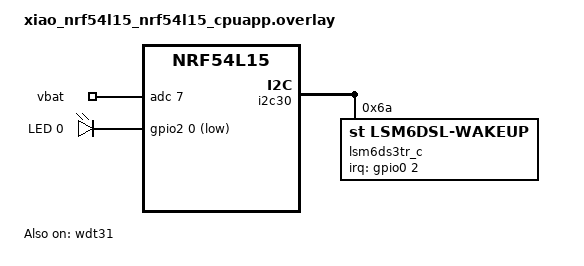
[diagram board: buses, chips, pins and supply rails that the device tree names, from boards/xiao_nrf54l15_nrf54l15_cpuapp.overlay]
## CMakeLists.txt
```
cmake_minimum_required(VERSION 3.20.0)
include(CheckCSourceCompiles)

# Manual ANT SDK install: unzip sdk-ant to <NCS>/ant.
# Force-export as cache so sysbuild/child configure also sees it.
set(_ncs_roots "")
if(DEFINED ENV{WEST_TOPDIR})
	list(APPEND _ncs_roots "$ENV{WEST_TOPDIR}")
endif()
if(DEFINED ENV{ZEPHYR_BASE})
	get_filename_component(_zephyr_parent "$ENV{ZEPHYR_BASE}" DIRECTORY)
	list(APPEND _ncs_roots "${_zephyr_parent}")
endif()

set(_ant_module_path "")
list(REMOVE_DUPLICATES _ncs_roots)
foreach(_root IN LISTS _ncs_roots)
	if(EXISTS "${_root}/ant/zephyr/module.yml")
		set(_ant_module_path "${_root}/ant")
		break()
	endif()
endforeach()

if(_ant_module_path)
	set(ZEPHYR_EXTRA_MODULES "${_ant_module_path};${ZEPHYR_EXTRA_MODULES}" CACHE STRING "Extra Zephyr modules" FORCE)
	message(STATUS "Using ANT module: ${_ant_module_path}")
else()
	message(WARNING "ANT module not found under WEST_TOPDIR/ZEPHYR_BASE parent")
endif()

find_package(Zephyr REQUIRED HINTS $ENV{ZEPHYR_BASE})
project(xds_t800_broker)

set_property(TARGET app PROPERTY C_STANDARD 11)

check_c_source_compiles("
    int main(void) {
      __auto_type x = 0;
      return 0;
    }
" HAVE_AUTO_TYPE)
check_c_source_compiles("
    int main(void) {
      int x = 0;
      __typeof__(x) y = 0;
      return y;
    }
" HAVE_TYPEOF)

if(HAVE_AUTO_TYPE)
  target_compile_definitions(app PRIVATE HAVE_AUTO_TYPE)
endif()
if(HAVE_TYPEOF)
  target_compile_definitions(app PRIVATE HAVE_TYPEOF)
endif()

execute_process(COMMAND git rev-parse --short HEAD OUTPUT_VARIABLE _git_commit ERROR_QUIET OUTPUT_STRIP_TRAILING_WHITESPACE)
file(STRINGS ${CMAKE_CURRENT_SOURCE_DIR}/APP_VERSION _app_version LIMIT_COUNT 1 LENGTH_MINIMUM 1 REGEX "^[0-9]+$")
target_compile_definitions(app PUBLIC "-DGIT_COMMIT=\"${_git_commit}\"" "-DAPP_VERSION_INT=${_app_version}")

zephyr_iterable_section(NAME central_profile_instance GROUP DATA_REGION ${XIP_ALIGN_WITH_INPUT})
zephyr_linker_sources(DATA_SECTIONS iterables.ld)

list(APPEND CENTRAL_SOURCES
  src/central_t800.c
)

# NORDIC SDK APP START
target_sources(app PRIVATE
  src/central_profile.c
  src/leds.c
  src/advertiser.c
  src/scanner.c
  src/gatt_callbacks.c
  src/gatt_battery.c
  src/gatt_dis.c
  src/shell_flush.c
  src/shell_bt.c
  src/bootloader.c
  src/battery_gauge.c
  src/watchdog.c
  src/poweroff.c
  src/crank_sim.c
  src/cdc_acm_serial.c
  src/main.c
  ${CENTRAL_SOURCES}
)

target_sources_ifdef(CONFIG_USE_IMU_ST_LSM6DSL app PRIVATE
  src/lsm6dsl.c
)

target_sources_ifdef(CONFIG_USE_RF_SW_CTL app PRIVATE
  src/shell_rfsw.c
)

target_sources_ifdef(CONFIG_ANT app PRIVATE
  src/ant_profiles.c
  src/ant_bike_power.c
  src/ant_environ.c
  src/shell_ant_slave.c
  src/shell_ant_master.c
)

target_sources_ifdef(CONFIG_HAS_ENVIRON_TX_TEMP app PRIVATE
  src/environ.c
)

# NORDIC SDK APP END
```

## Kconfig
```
rsource "Kconfig.defconfig"
source "Kconfig.zephyr"

config ZMS
	default y if (SOC_FLASH_NRF_RRAM || SOC_FLASH_NRF_MRAM)

config NVS
	default y if !(SOC_FLASH_NRF_RRAM || SOC_FLASH_NRF_MRAM)

menu "Private device drivers"
	config USE_RF_SW_CTL
		bool "Use RF switch control"
		default y
		depends on $(dt_nodelabel_enabled,rfsw_ctl)
	config USE_IMU_ST_LSM6DSL
		bool "Use ST LSM6DSL as IMU"
		default y
		select SENSOR
		depends on $(dt_compat_on_bus,$(DT_COMPAT_ST_LSM6DSL_WAKEUP),i2c)
endmenu

menu "Central connection settings"
	config PROXIMITY_PAIR_RSSI
		int "Proximity pairing RSSI threshold"
		# the ceramic antenna is not as good as inverted F setups on larger board
		default -80 if BOARD_XIAO_NRF54L15
		default -75
		range -127 0
		help
		  In proximity pairing mode (without a persisted known peer),
		  only peripherals with RSSI equal or greater than this threshold will be considered for pairing.

		  Future connections after initial proximity pairing are not affected by this setting.
endmenu

menu "Optional GATT services"
	config GATT_SERVICE_T800_DATA_PASSTHRU
		bool "Add T800 data passthrough service"
		default y
		help
		  When enabled, a GATT service is added to the device that
		  allows the T-800 power meter raw data to be passed along to attached centrals.
endmenu


menu "Bootloader trigger"
	config BOOTLOADER_GPREGRET_VAL
		int "Magic value to trigger bootloader (0=disabled)"
		default 87 if BOARD_PROMICRO_NRF52840
		default 0
		range 0 255
endmenu

menu "Data source and conditioning"
	config HAS_ENVIRON_TX_TEMP
		bool

	choice ENVIRON_TX_TEMP
		prompt "Temperature source"
		default ENVIRON_TX_TEMP_ST_LSM6DSL if USE_IMU_ST_LSM6DSL
		default ENVIRON_TX_TEMP_T800
	config ENVIRON_TX_TEMP_T800
		bool "Temperature from T-800 Sensor"
		select HAS_ENVIRON_TX_TEMP
	config ENVIRON_TX_TEMP_ST_LSM6DSL
		bool "Temperature from ST LSM6DSL Sensor"
		select HAS_ENVIRON_TX_TEMP
		depends on USE_IMU_ST_LSM6DSL
	endchoice

	config ENVIRON_TX_TEMP_AUTHEN
		bool "Require authentication for temperature reading"

	config BPWR_CLIP_RISING_DELTA
		int "Clip rising delta in power readings to this value (W/smpl)"
		default 300
		range 0 2000
endmenu

menu "Battery management"
	config LOW_POWER_TIMEOUT
		int "Low power mode timeout in seconds (0 = disabled)"
		default 60
		range 0 86400
	
	config AUTO_POWER_OFF_WAKE_BY_ACCELEROMETER
		bool "Use onboard accelerometer to wake up from low power mode"
		default y
		select USE_IMU_ST_LSM6DSL if $(dt_compat_on_bus,$(DT_COMPAT_ST_LSM6DSL_WAKEUP),i2c)
		depends on $(dt_compat_on_bus,$(DT_COMPAT_ST_LSM6DSL_WAKEUP),i2c)

	config AUTO_POWER_OFF_TIMEOUT
		int "Auto power off timeout in seconds (0 = disabled)"
		default 600 if AUTO_POWER_OFF_WAKE_BY_ACCELEROMETER
		default 3600 if $(dt_has_compat,gpio-keys) && !AUTO_POWER_OFF_WAKE_BY_ACCELEROMETER
		default 0
		range 0 86400
		depends on POWEROFF

	# rough estimation based on eneloop datasheet
	config BATTERY_CELL_COUNT
		int "Battery cell count"
		default 3
		range 1 10
	
	config BATTERY_GAUGE_ADC_REFERENCE_VOLTAGE
		int "ADC reference voltage (mV)"
		default 600
		range 1 64000

	config BATTERY_GAUGE_VOLTAGE_TABLE_10
		int "Report 10% when cell voltage is at least this value"
		default 1050
	
	config BATTERY_GAUGE_VOLTAGE_TABLE_20
		int "Report 20% when cell voltage is at least this value"	
		default 1160

	config BATTERY_GAUGE_VOLTAGE_TABLE_30
		int "Report 30% when cell voltage is at least this value"
		default 1180

	config BATTERY_GAUGE_VOLTAGE_TABLE_40
		int "Report 40% when cell voltage is at least this value"
		default 1200
	
	config BATTERY_GAUGE_VOLTAGE_TABLE_50
		int "Report 50% when cell voltage is at least this value"
		default 1220

	config BATTERY_GAUGE_VOLTAGE_TABLE_60
		int "Report 60% when cell voltage is at least this value"
		default 1240

	config BATTERY_GAUGE_VOLTAGE_TABLE_70
		int "Report 70% when cell voltage is at least this value"
		default 1260

	config BATTERY_GAUGE_VOLTAGE_TABLE_80
		int "Report 80% when cell voltage is at least this value"
		default 1300

	config BATTERY_GAUGE_VOLTAGE_TABLE_90
		int "Report 90% when cell voltage is at least this value"
		default 1350

	config BATTERY_GAUGE_VOLTAGE_TABLE_100
		int "Report 100% when cell voltage is at least this value"
		default 1400

	config BATTERY_GATT_SINGLE_SERVICE_COMPAT
		bool "Use single minimal Battery Service for compatibility"
		default y
		help
		  When enabled, only one Battery Service is presented on BLE and reports the lowest battery level.
		  The onboard power gauge and voltage reading will be moved to an aliased service UUID
		  (180f0000-fec3-49e5-bb59-eec007b2e270).
		  When disabled, two Battery services are presented on BLE and reports the onboard power gauge and meter battery gauge independently.
endmenu

if ANT
menu "ANT+ information"
	config ANT_ENVIRON_TX
		bool "Enable Environment (temperature) transmission"
		default y
		depends on HAS_ENVIRON_TX_TEMP

	config ANT_HW_VERSION
		int "Hardware revision"
		default 1
	
	config ANT_MFG_ID
		int "Manufacturer ID"
		default 255
	
	config ANT_MODEL_NUM
		int "Model number"
		default 1
	
	config ANT_FALLBACK_DEVICE_NUMBER
		int "Fallback device number with hardware ID not available"
		default 12345
		range 1 65535
endmenu
endif # ANT
```

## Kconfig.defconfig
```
menu "Device Identity"

config USB_MANUFACTURER_STRING
    string "USB Manufacturer String"
    default "Nordic Semiconductor ASA"

config USB_PRODUCT_STRING
    string "USB Product String"
    default "XDS_T800_Broker"

config BT_DEVICE_NAME
    default "XDS_T800_Broker"

config BT_CTLR_TX_PWR_ANTENNA
    # the Xiao NRF54L15 has a ceramic antenna
    # which is less efficient
    default 8 if BOARD_XIAO_NRF54L15

endmenu
```

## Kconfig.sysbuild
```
#
# Copyright (c) 2023 Nordic Semiconductor
#
# SPDX-License-Identifier: LicenseRef-Nordic-5-Clause
#

config PARTITION_MANAGER
	default n if !BOARD_IS_NON_SECURE

config NRF_DEFAULT_IPC_RADIO
	default y

config NETCORE_IPC_RADIO_BT_HCI_IPC
	default y

config REMOTE_BOARD
	string "The board used as remote target in dual core builds"
	default "xiao_nrf54l15/nrf54l15/cpuflpr" if BOARD_XIAO_NRF54L15_NRF54L15_CPUAPP
	default "nrf54l15dk/nrf54l15/cpuflpr" if BOARD_NRF54L15DK_NRF54L15_CPUAPP
	default "nrf54lm20dk/nrf54lm20a/cpuflpr" if BOARD_NRF54LM20DK_NRF54LM20A_CPUAPP
	default "nrf54lv10dk/nrf54lv10a/cpuflpr" if BOARD_NRF54LV10DK_NRF54LV10A_CPUAPP
	
source "share/sysbuild/Kconfig"
```

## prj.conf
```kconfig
CONFIG_SIZE_OPTIMIZATIONS=y

CONFIG_RESET_ON_FATAL_ERROR=y
CONFIG_HW_STACK_PROTECTION=y
CONFIG_HEAP_MEM_POOL_SIZE=8192
CONFIG_SYS_CLOCK_TICKS_PER_SEC=8192

CONFIG_ADC=y

CONFIG_BT_LL_SOFTDEVICE_MULTIROLE=y

CONFIG_LOG=y
CONFIG_LOG_MODE_DEFERRED=y
CONFIG_LOG_SPEED=y
CONFIG_LOG_BUFFER_SIZE=8192

CONFIG_LED=y
CONFIG_LED_PWM=y

CONFIG_HWINFO=y

CONFIG_CDC_ACM_SERIAL_INITIALIZE_AT_BOOT=n
CONFIG_SHELL=y
CONFIG_SHELL_BT_NUS=y
CONFIG_SHELL_VT100_COLORS=n
CONFIG_SHELL_BT_NUS_INIT_LOG_LEVEL_INF=y
CONFIG_SHELL_BT_NUS_LOG_LEVEL_WRN=y
CONFIG_SHELL_BT_NUS_TX_RING_BUFFER_SIZE=64
CONFIG_SHELL_BACKEND_SERIAL_RX_RING_BUFFER_SIZE=256
CONFIG_SHELL_BACKEND_SERIAL_TX_RING_BUFFER_SIZE=32

CONFIG_BT_NUS_AUTHEN=y

CONFIG_BT=y
CONFIG_BT_CTLR_PHY_2M=n
CONFIG_BT_CTLR_PHY_CODED=y
CONFIG_BT_USER_PHY_UPDATE=y
CONFIG_BT_CTLR_TX_PWR_DYNAMIC_CONTROL=y
CONFIG_BT_FILTER_ACCEPT_LIST=y
CONFIG_BT_CTLR_FAL_SIZE=16
CONFIG_BT_PERIPHERAL=y
CONFIG_BT_CENTRAL=y
CONFIG_BT_PRIVACY=y
CONFIG_BT_CONN_CHECK_NULL_BEFORE_CREATE=y
CONFIG_BT_SMP_SC_PAIR_ONLY=y
CONFIG_BT_SMP_APP_PAIRING_ACCEPT=y
# Allow for large Bluetooth data packets.
CONFIG_BT_L2CAP_TX_MTU=498
CONFIG_BT_BUF_ACL_RX_SIZE=502
CONFIG_BT_BUF_ACL_TX_SIZE=502
CONFIG_BT_CTLR_DATA_LENGTH_MAX=251
CONFIG_BT_DEVICE_NAME_DYNAMIC=y
CONFIG_BT_DEVICE_NAME_MAX=40

CONFIG_BT_DEVICE_APPEARANCE=1156
CONFIG_BT_MAX_CONN=8
CONFIG_BT_CTLR_SDC_PERIPHERAL_COUNT=2
CONFIG_BT_MAX_PAIRED=8

CONFIG_BT_SMP=y
CONFIG_BT_KEYS_OVERWRITE_OLDEST=y
CONFIG_BT_ID_UNPAIR_MATCHING_BONDS=y

CONFIG_BT_SCAN_AND_INITIATE_IN_PARALLEL=y

CONFIG_BT_GATT_CLIENT=y
CONFIG_BT_GATT_DM=y
# CONFIG_BT_GATT_DM_DATA_PRINT=y

CONFIG_BT_SETTINGS=y
CONFIG_FLASH=y
CONFIG_FLASH_PAGE_LAYOUT=y
CONFIG_FLASH_MAP=y
CONFIG_SETTINGS=y
CONFIG_SETTINGS_SHELL=y

CONFIG_I2C=y
CONFIG_LSM6DSO=n
CONFIG_LSM6DSL=n

CONFIG_POWEROFF=y
CONFIG_DK_LIBRARY=y
CONFIG_DK_LIBRARY_DYNAMIC_BUTTON_HANDLERS=n
CONFIG_WATCHDOG=y
CONFIG_REBOOT=y
```

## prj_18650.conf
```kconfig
CONFIG_BATTERY_CELL_COUNT=1

CONFIG_BATTERY_GAUGE_VOLTAGE_TABLE_100=4100
CONFIG_BATTERY_GAUGE_VOLTAGE_TABLE_90=4000
CONFIG_BATTERY_GAUGE_VOLTAGE_TABLE_80=3900
CONFIG_BATTERY_GAUGE_VOLTAGE_TABLE_70=3800
CONFIG_BATTERY_GAUGE_VOLTAGE_TABLE_60=3700
CONFIG_BATTERY_GAUGE_VOLTAGE_TABLE_50=3600
CONFIG_BATTERY_GAUGE_VOLTAGE_TABLE_40=3550
CONFIG_BATTERY_GAUGE_VOLTAGE_TABLE_30=3500
CONFIG_BATTERY_GAUGE_VOLTAGE_TABLE_20=3400
CONFIG_BATTERY_GAUGE_VOLTAGE_TABLE_10=3300
```

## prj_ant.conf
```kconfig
CONFIG_ANT=y
CONFIG_ANT_LIBRARY_CORE=y
CONFIG_ANT_COMMON=y
CONFIG_ANT_KEY_MANAGER=y
CONFIG_ANT_CHANNEL_CONFIG=y
CONFIG_ANT_SDC_INIT=y
CONFIG_ANT_EVALUATION_KEY=y
CONFIG_ANT_TOTAL_CHANNELS_ALLOCATED=4
```

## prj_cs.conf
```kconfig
CONFIG_BT_CTLR_SDC_MAX_CONN_EVENT_LEN_DEFAULT=1500
CONFIG_BT_RAS_RRSP_RD_BUFFERS_PER_CONN=4
CONFIG_BT_TRANSMIT_POWER_CONTROL=y
CONFIG_BT_CHANNEL_SOUNDING=y
CONFIG_BT_RAS=y
CONFIG_BT_RAS_MODE_3_SUPPORTED=n
CONFIG_BT_RAS_RRSP=y
CONFIG_BT_RAS_RRSP_MAX_ACTIVE_CONN=2
CONFIG_BT_RAS_MAX_ANTENNA_PATHS=2
CONFIG_BT_CTLR_SDC_CS_MAX_ANTENNA_PATHS=2
CONFIG_BT_CTLR_SDC_CS_NUM_ANTENNAS=1
CONFIG_BT_CTLR_SDC_CS_STEP_MODE3=n
CONFIG_BT_CTLR_SDC_CS_ROLE_REFLECTOR_ONLY=y
CONFIG_BT_CTLR_CHANNEL_SOUNDING_TEST=n
```

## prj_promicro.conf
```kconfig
CONFIG_BOOTLOADER_GPREGRET_VAL=87
```

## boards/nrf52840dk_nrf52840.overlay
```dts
/ {
	zephyr,user {
		vbat-divider-ratio = <5>;
		io-channels = <&adc 0>;
		io-channel-names = "vbat";
	};


	aliases {
		/* this LED is super dim so no need to dim it */
		power-led = &led0;
		central1-status-led = &led1;
		central2-status-led = &led2;
		data-activity-led = &led3;
	};
};

&adc {
	#address-cells = <1>;
	#size-cells = <0>;

	channel@0 {
		reg = <0>;
		zephyr,gain = "ADC_GAIN_1_4";
		zephyr,reference = "ADC_REF_INTERNAL";
		zephyr,acquisition-time = <ADC_ACQ_TIME(ADC_ACQ_TIME_MICROSECONDS, 20)>;
		zephyr,input-positive = <NRF_SAADC_VDDHDIV5>;
		zephyr,resolution = <14>;
		zephyr,oversampling = <2>;
	};
};

&spi0 {
	status = "disabled";
};

&spi1 {
	status = "disabled";
};

&i2c0 {
	status = "disabled";
};

&i2c1 {
	status = "disabled";
};
```

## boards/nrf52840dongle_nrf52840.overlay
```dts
/ {
	zephyr,user {
		vbat-divider-ratio = <5>;
		io-channels = <&adc 0>;
		io-channel-names = "vbat";
	};

	aliases {
		/* this LED is super dim so no need to dim it */
		central1-status-led = &green_pwm_led;
		power-led = &red_pwm_led;
		data-activity-led = &blue_pwm_led;
	};

	leds {
		compatible = "gpio-leds";

		selfreset: selfreset-pin {
			gpios = <&gpio0 19 GPIO_ACTIVE_LOW>;
			label = "Self Reset";
		};
	};
};


&adc {
	#address-cells = <1>;
	#size-cells = <0>;

	channel@0 {
		reg = <0>;
		zephyr,gain = "ADC_GAIN_1_4";
		zephyr,reference = "ADC_REF_INTERNAL";
		zephyr,acquisition-time = <ADC_ACQ_TIME(ADC_ACQ_TIME_MICROSECONDS, 20)>;
		zephyr,input-positive = <NRF_SAADC_VDDHDIV5>;
		zephyr,resolution = <14>;
		zephyr,oversampling = <2>;
	};
};

&spi0 {
	status = "disabled";
};

&spi1 {
	status = "disabled";
};

&i2c0 {
	status = "disabled";
};

&i2c1 {
	status = "disabled";
};
```

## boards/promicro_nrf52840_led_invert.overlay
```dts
/ {
	pwmleds {
		compatible = "pwm-leds";
		red_pwm_led: led_pwm_0 {
			pwms = <&pwm0 0 PWM_MSEC(20) PWM_POLARITY_NORMAL>;
			label = "Red PWM LED";
		};
	};
};
```

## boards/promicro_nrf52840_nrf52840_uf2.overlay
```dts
/ {
	zephyr,user {
		vbat-divider-ratio = <5>;
		io-channels = <&adc 0>;
		io-channel-names = "vbat";
	};

	aliases {
		data-activity-led = &red_pwm_led;
	};

	leds {
		compatible = "gpio-leds";

		vccpoweroff: vccpoweroff-pin {
			gpios = <&gpio0 13 GPIO_ACTIVE_LOW>;
			label = "VCC Power Off";
		};
	};
};

&adc {
	#address-cells = <1>;
	#size-cells = <0>;

	channel@0 {
		reg = <0>;
		zephyr,gain = "ADC_GAIN_1_4";
		zephyr,reference = "ADC_REF_INTERNAL";
		zephyr,acquisition-time = <ADC_ACQ_TIME(ADC_ACQ_TIME_MICROSECONDS, 20)>;
		zephyr,input-positive = <NRF_SAADC_VDDHDIV5>;
		zephyr,resolution = <14>;
		zephyr,oversampling = <2>;
	};
};

&spi0 {
	status = "disabled";
};

&spi1 {
	status = "disabled";
};

&i2c0 {
	status = "disabled";
};

&i2c1 {
	status = "disabled";
};
```

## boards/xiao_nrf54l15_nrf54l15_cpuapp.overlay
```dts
/ {
	aliases {
		data-activity-led = &led0;
		watchdog0 = &wdt31;
	};

	zephyr,user {
		vbat-divider-ratio = <2>;
		io-channels = <&adc 7>;
		io-channel-names = "vbat";
	};

	aliases {
		imu0 = &lsm6ds3tr_c;
	};
};

// bug in v3.2.4 overlay: antenna switch was not on
&rfsw_pwr {
	regulator-boot-on;
};

// https://github.com/Seeed-Studio/platform-seeedboards/commit/1bc7fd23168fbe2ac4c463442637113e8e287543
&led0 {
	gpios = <&gpio2 0 GPIO_ACTIVE_LOW>;
	label = "LED 0";
};

&wdt31 {
	status = "okay";
};

/delete-node/ &lsm6dso;

// https://github.com/nrfconnect/sdk-zephyr/commit/dcfa19b3cf0166e8cc418acc827e3b0eb556a5bd
&i2c30 {
	status = "okay";

	lsm6ds3tr_c: lsm6ds3tr-c@6a {
		compatible = "st,lsm6dsl-wakeup";
		reg = <0x6a>;
		irq-gpios = <&gpio0 2 GPIO_ACTIVE_HIGH>;
		status = "okay";
	};
};
```

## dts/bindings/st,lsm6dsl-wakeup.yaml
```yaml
compatible: "st,lsm6dsl-wakeup"

description: |
  STMicroelectronics LSM6DSL 6-axis accelerometer and gyrometer accessed through
  I2C bus

include: ["i2c-device.yaml"]

properties:
  irq-gpios:
    # This signal is active high when produced by the sensor
    type: phandle-array
    required: true
```

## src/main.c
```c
#include <stdatomic.h>
#include <stdbool.h>
#include <stdint.h>
#include <sys/errno.h>

#include <bluetooth/gatt_dm.h>
#include <shell/shell_bt_nus.h>

#if IS_ENABLED(CONFIG_ANT)
#include "ant_profiles.h"
#include "shell_ant_slave.h"
#include <ant_init.h>
#include <ant_key_manager.h>
#endif

#if IS_ENABLED(CONFIG_SENSOR)
#include <zephyr/drivers/sensor.h>
#endif

#if IS_ENABLED(CONFIG_BT_CHANNEL_SOUNDING)
#include <bluetooth/services/ras.h>
#include <zephyr/bluetooth/cs.h>
#endif

#if IS_ENABLED(CONFIG_HAS_ENVIRON_TX_TEMP)
#include "environ.h"
#endif

#include <zephyr/bluetooth/assigned_numbers.h>
#include <zephyr/bluetooth/bluetooth.h>
#include <zephyr/bluetooth/conn.h>
#include <zephyr/bluetooth/gatt.h>
#include <zephyr/bluetooth/hci.h>
#include <zephyr/bluetooth/services/bas.h>
#include <zephyr/bluetooth/uuid.h>
#include <zephyr/devicetree.h>
#include <zephyr/drivers/led.h>
#include <zephyr/kernel.h>
#include <zephyr/logging/log.h>
#include <zephyr/logging/log_ctrl.h>
#include <zephyr/net_buf.h>
#include <zephyr/settings/settings.h>
#include <zephyr/sys/poweroff.h>
#include <zephyr/sys/reboot.h>
#include <zephyr/sys/util.h>
#include <zephyr/toolchain.h>

#include <dk_buttons_and_leds.h>

#include "advertiser.h"
#include "battery_gauge.h"
#include "cdc_acm_serial.h"
#include "central_profile.h"
#include "central_t800.h"
#include "gatt_battery.h"
#include "leds.h"

#if IS_ENABLED(CONFIG_USE_IMU_ST_LSM6DSL)
#include "lsm6dsl.h"
#endif

#include "poweroff.h"
#include "scanner.h"
#include "watchdog.h"

#define CONNECTION_ATTEMPT_LIMIT 3

#define LOW_BATTERY_THRESHOLD 20
#define LOW_BATTERY_THRESHOLD_HYSTERESIS 20

#define BT_CENTRAL_KNOWN_PEER_SETTINGS_SUBTREE "bt_central_known_peer"

LOG_MODULE_REGISTER(main, CONFIG_LOG_DEFAULT_LEVEL);

#if DT_NODE_EXISTS(DT_NODELABEL(vccpoweroff)) &&                               \
    DT_NODE_HAS_STATUS_OKAY(DT_NODELABEL(vccpoweroff))

const struct led_dt_spec vcc_poweroff_pin =
    LED_DT_SPEC_GET(DT_NODELABEL(vccpoweroff));

#define HAS_VCC_POWEROFF_PIN 1
#else
#define HAS_VCC_POWEROFF_PIN 0
#endif

static uint8_t connection_attempt_count = 0;
const static struct bt_gatt_dm_cb discovery_cb;

// some board variants of the XIAO nrf54L15 does not have this.
// so we need to catch and change behavior
#if IS_ENABLED(CONFIG_USE_IMU_ST_LSM6DSL)
static bool lsm6dsl_initialized = false;
#endif

static void bt_conn_foreach_count_connected_peripheral(struct bt_conn *conn,
                                                       void *data) {
  struct bt_conn_info conn_info;
  uint32_t *count = (uint32_t *)data;

  int err = bt_conn_get_info(conn, &conn_info);
  if (err) {
    LOG_ERR("Failed to get connection info (err %d)", err);
    return;
  }
  if (conn_info.type != BT_CONN_TYPE_LE ||
      conn_info.state != BT_CONN_STATE_CONNECTED ||
      conn_info.role != BT_CONN_ROLE_CENTRAL) {
    return;
  }
  (*count)++;
}

static int bt_central_known_peer_set(const char *name, size_t len,
                                     settings_read_cb read_cb, void *cb_arg) {
  LOG_INF("bt_central_known_peer_set: %s", name);
  char addr_str[BT_ADDR_LE_STR_LEN] = {0};
  STRUCT_SECTION_FOREACH(central_profile_instance, instance) {
    // skip if not the same profile
    if (strcmp(name, instance->profile->name) == 0) {
      int rc =
          read_cb(cb_arg, &instance->known_peer, sizeof(instance->known_peer));
      if (rc == sizeof(instance->known_peer)) {
        bt_addr_le_to_str(&instance->known_peer, addr_str, sizeof(addr_str));
        LOG_INF("Known peer restored for profile: %s (%s)",
                instance->profile->name, addr_str);
        return 0;
      }
      LOG_WRN("Unexpected retrieved value length: %d. Profile %s will run in "
              "pairing mode.",
              rc, instance->profile->name);

      memset(&instance->known_peer, 0, sizeof(instance->known_peer));
      return rc;
    }
  }
  return -ENOENT;
}

SETTINGS_STATIC_HANDLER_DEFINE(known_peer,
                               BT_CENTRAL_KNOWN_PEER_SETTINGS_SUBTREE, NULL,
                               bt_central_known_peer_set, NULL, NULL);

static struct central_profile_instance *
central_profile_instance_get(struct bt_conn *conn) {
  STRUCT_SECTION_FOREACH(central_profile_instance, instance) {
    if (instance->conn == conn) {
      return instance;
    }
  }
  return NULL;
}

static void mtu_exchange_func(struct bt_conn *conn, uint8_t att_err,
                              struct bt_gatt_exchange_params *params) {
  if (att_err) {
    LOG_WRN("MTU exchange faled (err %d)", att_err);
  } else {
    uint16_t payload_mtu =
        bt_gatt_get_mtu(conn) - 3; // 3 bytes used for Attribute headers.
    LOG_INF("New MTU: %d bytes", payload_mtu);
  }
}

static struct bt_gatt_exchange_params mtu_exchange_params = {
    .func = mtu_exchange_func,
};

int64_t last_button_press_time = 0;

static void start_pairing_mode_work_handler(struct k_work *work) {
  scan_enter_pairing_mode(NULL);
}

K_WORK_DELAYABLE_DEFINE(start_pairing_mode_work,
                        start_pairing_mode_work_handler);

static void btn_handler_fn(uint32_t button_state, uint32_t has_changed) {
  button_state &= 1;
  has_changed &= 1;
  LOG_INF("Button state: %d, has_changed: %d", button_state, has_changed);
  if (has_changed) {
    if (button_state) {
      last_button_press_time = k_uptime_get();
      k_work_reschedule(&start_pairing_mode_work, K_SECONDS(3));
    } else {
      int64_t now = k_uptime_get();
      uint32_t duration = now - last_button_press_time;
      if (duration < 500) {
        led_brightness_next();
        k_work_cancel_delayable(&start_pairing_mode_work);
      }
    }
  }
}

uint8_t bt_gatt_discover_cb(struct bt_conn *conn,
                            const struct bt_gatt_attr *attr,
                            struct bt_gatt_discover_params *params);

static void discovery_completed_cb(struct bt_gatt_dm *dm, void *context) {
  int err;

  LOG_INF("The discovery procedure succeeded");

  struct central_profile_instance *instance =
      (struct central_profile_instance *)context;

  bt_gatt_dm_data_print(dm);

  struct bt_conn *conn = bt_gatt_dm_conn_get(dm);

  err = instance->profile->on_discovery(dm);
  if (err) {
    LOG_ERR("Discovery procedure failed (err %d)", err);
    bt_gatt_dm_data_release(dm);
    bt_conn_disconnect(conn, BT_HCI_ERR_REMOTE_USER_TERM_CONN);
    return;
  }

  err = bt_gatt_dm_data_release(dm);
  if (err && err != -EALREADY) {
    LOG_ERR("Could not release the discovery data (err %d)", err);
  }

  bt_gatt_dm_continue(dm, context);
}

static void discovery_not_found_cb(struct bt_conn *conn, void *context) {
  struct central_profile_instance *instance =
      central_profile_instance_get(conn);
  if (!instance) {
    LOG_ERR("No instance found for connection");
    return;
  }
  instance->next_service_uuid++;

  if (*instance->next_service_uuid != NULL) {
    LOG_INF("Starting discovery procedure for next service");
    int err = bt_gatt_dm_start(conn, *instance->next_service_uuid,
                               &discovery_cb, context);
    if (err) {
      LOG_ERR("Could not start the discovery procedure (err %d)", err);
    }
  } else {
    LOG_INF("End of discovery procedure");
    connection_attempt_count = 0;
    if (!instance->is_registered) {
      const bt_addr_le_t *dst = bt_conn_get_dst(conn);
      bt_addr_le_copy(&instance->known_peer, dst);
      char name_buf[64];
      if (snprintf(name_buf, sizeof(name_buf), "%s%c%s",
                   BT_CENTRAL_KNOWN_PEER_SETTINGS_SUBTREE,
                   SETTINGS_NAME_SEPARATOR, instance->profile->name) > 0) {
        int err = settings_save_one(name_buf, dst, sizeof(*dst));
        if (err) {
          LOG_ERR("Failed to save known peer (err %d)", err);
        }
      }
      instance->profile->on_connected(conn);
      instance->is_registered = true;
    }
    // restart scanning for other profiles if needed
    scan_start(true);
  }
}

static void discovery_error_found_cb(struct bt_conn *conn, int err,
                                     void *context) {
  LOG_ERR("Discovery procedure failed with %d, disconnecting", err);
  bt_conn_disconnect(conn, BT_HCI_ERR_REMOTE_USER_TERM_CONN);
  scan_start(true);
}

const static struct bt_gatt_dm_cb discovery_cb = {
    .completed = discovery_completed_cb,
    .service_not_found = discovery_not_found_cb,
    .error_found = discovery_error_found_cb};

static void auth_cancel(struct bt_conn *conn) {
  char addr[BT_ADDR_LE_STR_LEN];

  bt_addr_le_to_str(bt_conn_get_dst(conn), addr, sizeof(addr));

  LOG_WRN("Pairing cancelled: %s", addr);
}

static void pairing_complete(struct bt_conn *conn, bool bonded) {
  char addr[BT_ADDR_LE_STR_LEN];

  bt_addr_le_to_str(bt_conn_get_dst(conn), addr, sizeof(addr));

  LOG_INF("Pairing completed: %s, bonded: %d", addr, bonded);
  if (bonded) {
    advertising_notify_bond_changed();
  }
}

static void pairing_failed(struct bt_conn *conn, enum bt_security_err reason) {
  char addr[BT_ADDR_LE_STR_LEN];

  bt_addr_le_to_str(bt_conn_get_dst(conn), addr, sizeof(addr));

  LOG_ERR("Pairing failed conn: %s, reason %d %s", addr, reason,
          bt_security_err_to_str(reason));
}

static void bond_deleted(uint8_t id, const bt_addr_le_t *peer) {
  char addr[BT_ADDR_LE_STR_LEN];
  bt_addr_le_to_str(peer, addr, sizeof(addr));
  LOG_INF("Bond deleted: %s", addr);
  advertising_notify_bond_changed();
}

static void auth_passkey_display(struct bt_conn *conn, unsigned int passkey) {
  char addr[BT_ADDR_LE_STR_LEN];
  bt_addr_le_to_str(bt_conn_get_dst(conn), addr, sizeof(addr));
  LOG_INF("Passkey for %s: %06u\n", addr, passkey);
}

static enum bt_security_err
auth_pairing_accept(struct bt_conn *conn,
                    const struct bt_conn_pairing_feat *const feat) {
  if (advertising_is_public()) {
    return BT_SECURITY_ERR_SUCCESS;
  }
  return BT_SECURITY_ERR_PAIR_NOT_ALLOWED;
}

static const struct bt_conn_auth_cb auth_callbacks = {
    .pairing_accept = auth_pairing_accept,
    .passkey_display = auth_passkey_display,
    .cancel = auth_cancel};

static struct bt_conn_auth_info_cb conn_auth_info_callbacks = {
    .bond_deleted = bond_deleted,
    .pairing_complete = pairing_complete,
    .pairing_failed = pairing_failed};

static struct bt_conn *nus_conn = NULL;

static void on_connected(struct bt_conn *conn, uint8_t conn_err) {
  int err;
  char addr[BT_ADDR_LE_STR_LEN];

  bt_addr_le_to_str(bt_conn_get_dst(conn), addr, sizeof(addr));

  struct bt_conn_info conn_info = {0};
  err = bt_conn_get_info(conn, &conn_info);
  if (err) {
    LOG_ERR("bt_conn_info() returned %d", err);
  }

  struct central_profile_instance *instance =
      central_profile_instance_get(conn);

  if (conn_err) {
    LOG_ERR("Failed to connect to %s, 0x%02x %s", addr, conn_err,
            bt_hci_err_to_str(conn_err));

    // do not count strikes against connection attempts for peripheral
    // connections or remote lack of response
    if (conn_info.role != BT_CONN_ROLE_PERIPHERAL &&
        conn_err != BT_HCI_ERR_PAGE_TIMEOUT &&
        conn_err != BT_HCI_ERR_CONN_TIMEOUT &&
        ++connection_attempt_count > CONNECTION_ATTEMPT_LIMIT) {
      LOG_ERR("Connection attempt limit reached, resetting");
      sys_reboot(SYS_REBOOT_COLD);
    }
    scan_start(true);

    if (instance) {
      struct bt_conn *conn = atomic_ptr_clear((void **)&instance->conn);
      if (conn) {
        led_temp_dim_dec();
      }
    }

    if (conn_info.role == BT_CONN_ROLE_CENTRAL) {
      bt_conn_unref(conn);
    }

    return;
  }

  LOG_INF("Connected: %s", addr);

  if (instance) {
    led_set_bit(instance->led_idx);

    instance->next_service_uuid = instance->profile->service_uuids;

    const struct bt_conn_le_phy_param param = {
        .options = BT_CONN_LE_PHY_OPT_CODED_S2,
        .pref_tx_phy = BT_GAP_LE_PHY_CODED,
        .pref_rx_phy = BT_GAP_LE_PHY_CODED,
    };

    err = bt_conn_le_phy_update(conn, &param);
    if (err) {
      LOG_ERR("bt_conn_le_phy_update() returned %d", err);
    }

    err = bt_gatt_dm_start(conn, *instance->next_service_uuid, &discovery_cb,
                           (void *)instance);
    if (err) {
      LOG_ERR("Could not start the discovery procedure, disconnecting (err %d)",
              err);
      bt_conn_disconnect(conn, BT_HCI_ERR_REMOTE_USER_TERM_CONN);
      return;
    }

    // start scanning for other profiles
    scan_start(true);
  } else {
    // we will only do the MTU exchange on the peripheral side
    // central profiles can do the MTU exchange themselves
    // this it to prevent buggy implementations running out of RAM
    // when we ask for a large MTU
    err = bt_gatt_exchange_mtu(conn, &mtu_exchange_params);
    if (err) {
      LOG_ERR("bt_gatt_exchange_mtu() returned %d", err);
    }

    advertising_start();
  }
}

static void on_disconnected(struct bt_conn *conn, uint8_t reason) {
  char addr[BT_ADDR_LE_STR_LEN];

  bt_addr_le_to_str(bt_conn_get_dst(conn), addr, sizeof(addr));

  LOG_WRN("Disconnected: %s, reason 0x%02x %s", addr, reason,
          bt_hci_err_to_str(reason));

  struct bt_conn_info conn_info = {0};
  int err = bt_conn_get_info(conn, &conn_info);
  if (err) {
    LOG_ERR("bt_conn_info() returned %d", err);
  }

  struct central_profile_instance *instance =
      central_profile_instance_get(conn);

  if (instance) {

    if (++connection_attempt_count > CONNECTION_ATTEMPT_LIMIT) {
      LOG_ERR("Connection attempt limit reached, resetting");
      sys_reboot(SYS_REBOOT_COLD);
    }

    if (instance->is_registered) {
      instance->profile->on_disconnected(conn, reason);
      instance->is_registered = false;
    }

    struct bt_conn *conn = atomic_ptr_clear((void **)&instance->conn);
    led_clear_bit(instance->led_idx);
    if (conn) {
      bt_conn_unref(conn);
      led_temp_dim_dec();
    }
  } else if (conn_info.role == BT_CONN_ROLE_CENTRAL) {
    bt_conn_unref(conn);
  } else {
    if (atomic_ptr_cas((void **)&nus_conn, (void *)conn, NULL)) {
      shell_bt_nus_disable();
    }
  }
}

static void on_security_changed(struct bt_conn *conn, bt_security_t level,
                                enum bt_security_err err) {
  char addr[BT_ADDR_LE_STR_LEN];

  bt_addr_le_to_str(bt_conn_get_dst(conn), addr, sizeof(addr));

  struct bt_conn_info conn_info = {0};
  bt_conn_get_info(conn, &conn_info);

  if (!err) {
    LOG_INF("Security changed: %s level %u", addr, level);
    if (conn_info.role == BT_CONN_ROLE_PERIPHERAL && level == BT_SECURITY_L4) {
      if (atomic_ptr_cas((void **)&nus_conn, NULL, (void *)conn)) {
        shell_bt_nus_enable(conn);
      }
#if IS_ENABLED(CONFIG_BT_CHANNEL_SOUNDING)
      const struct bt_le_cs_set_default_settings_param default_settings = {
          .enable_initiator_role = false,
          .enable_reflector_role = true,
          .cs_sync_antenna_selection =
              BT_LE_CS_ANTENNA_SELECTION_OPT_REPETITIVE,
          .max_tx_power = BT_HCI_OP_LE_CS_MAX_MAX_TX_POWER,
      };

      err = bt_le_cs_set_default_settings(conn, &default_settings);
      if (err) {
        LOG_ERR("Failed to configure default CS settings (err %d)", err);
      }
#endif
    }
  } else {
    LOG_ERR("Security failed: %s level %u err %d", addr, level, err);
  }
}

static void on_conn_recycled(void) {
  LOG_INF("Connection recycled");
  advertising_start();

  scan_start(false);
}

static const char *bt_le_phy_to_str(enum bt_gap_le_phy phy) {
  switch (phy) {
  case BT_GAP_LE_PHY_NONE:
    return "none";
  case BT_GAP_LE_PHY_CODED:
    return "coded";
  case BT_GAP_LE_PHY_CODED_S2:
    return "coded_s2";
  case BT_GAP_LE_PHY_CODED_S8:
    return "coded_s8";
  case BT_GAP_LE_PHY_1M:
    return "1M";
  case BT_GAP_LE_PHY_2M:
    return "2M";
  }
  return "unknown";
}

static void on_le_phy_updated(struct bt_conn *conn,
                              struct bt_conn_le_phy_info *info) {
  char addr[BT_ADDR_LE_STR_LEN];
  bt_addr_le_to_str(bt_conn_get_dst(conn), addr, sizeof(addr));
  LOG_INF("LE PHY updated: %s tx_phy %s rx_phy %s", addr,
          bt_le_phy_to_str(info->tx_phy), bt_le_phy_to_str(info->rx_phy));
}

#if IS_ENABLED(CONFIG_BT_CHANNEL_SOUNDING)
static void on_le_cs_config_complete(struct bt_conn *conn, uint8_t status,
                                     struct bt_conn_le_cs_config *config) {

  const struct bt_le_cs_set_procedure_parameters_param procedure_params = {
      .config_id = 0,
      .max_procedure_len = 2000,
      .min_procedure_interval = 1,
      .max_procedure_interval = 200,
      .max_procedure_count = 0,
      .min_subevent_len = 10000,
      .max_subevent_len = 75000,
      .tone_antenna_config_selection =
          BT_LE_CS_TONE_ANTENNA_CONFIGURATION_A1_B1,
      .phy = BT_LE_CS_PROCEDURE_PHY_1M,
      .tx_power_delta = 0x80,
      .preferred_peer_antenna = BT_LE_CS_PROCEDURE_PREFERRED_PEER_ANTENNA_1,
      .snr_control_initiator = BT_LE_CS_SNR_CONTROL_NOT_USED,
      .snr_control_reflector = BT_LE_CS_SNR_CONTROL_NOT_USED,
  };

  int err = bt_le_cs_set_procedure_parameters(conn, &procedure_params);
  if (err) {
    LOG_ERR("Failed to set procedure parameters (err %d)", err);
  }
}
#endif

BT_CONN_CB_DEFINE(conn_callbacks) = {
    .connected = on_connected,
    .disconnected = on_disconnected,
    .security_changed = on_security_changed,
    .recycled = on_conn_recycled,
    .le_phy_updated = on_le_phy_updated,
#if IS_ENABLED(CONFIG_BT_CHANNEL_SOUNDING)
    .le_cs_config_complete = on_le_cs_config_complete,
#endif
};

#if IS_ENABLED(CONFIG_ANT)

static void ant_evt_handler(ant_evt_t *p_ant_evt) {

  if (p_ant_evt->channel == bpwr_channel_config.channel_number) {
    ant_bike_power_evt_handler(p_ant_evt, &ant_profile_bike_power);
    return;
  } else if (p_ant_evt->channel == environ_channel_config.channel_number) {
    ant_environ_evt_handler(p_ant_evt, &ant_profile_environ);
    return;
  } else if (p_ant_evt->channel ==
                 antplus_generic_slave0_config.channel_number ||
             p_ant_evt->channel ==
                 antplus_generic_slave1_config.channel_number) {
    ant_generic_slave_evt_handler(p_ant_evt);
    return;
  }
  LOG_ERR("Unknown channel: %d", p_ant_evt->channel);
}

static int ant_stack_setup(void) {
  int err = 0;

  err = ant_init();

  if (err) {
    LOG_ERR("ant_init failed: %d", err);
    return err;
  }

  err = ant_cb_register(&ant_evt_handler);
  if (err) {
    LOG_ERR("ant_cb_register failed: %d", err);
    return err;
  }

  err = ant_plus_key_set(ANT_NETWORK_ANTPLUS);
  if (err) {
    LOG_ERR("ant_plus_key_set failed: %d", err);
    return err;
  }

  return 0;
}

#endif

int bt_setup(void) {
  int err;
  err = bt_enable(NULL);
  if (err) {
    if (err == -EALREADY) {
      return 0;
    }
    return err;
  }

  settings_load();

  led_data_activity();

  scan_start(true);

#if IS_ENABLED(CONFIG_ANT)
  err = bt_adv_set_device_number(ant_profiles_get_device_number());
  if (err) {
    LOG_ERR("Failed to set device number (err %d)", err);
    return err;
  }
#endif

  advertising_start();

  return 0;
}

int main_loop(void) {
  int err;
  bool low_batt = false;

#if HAS_VCC_POWEROFF_PIN
  led_on_dt(&vcc_poweroff_pin);
#endif

  LOG_INIT();
  LOG_INF("Reset reason: %d", watchdog_get_reset_reason());

#if IS_ENABLED(CONFIG_USE_IMU_ST_LSM6DSL)
  lsm6dsl_initialized = lsmdsl_wakeup_is_available();
  LOG_INF("LSM6DSL init success: %d", lsm6dsl_initialized);
#endif

  err = battery_gauge_setup();
  if (err) {
    LOG_ERR("Failed to setup battery gauge: %d", err);
  }

  err = dk_buttons_init(btn_handler_fn);
  if (err) {
    LOG_ERR("Buttons init failed (err %d)", err);
    return err;
  }

#if IS_ENABLED(CONFIG_ANT)
  err = ant_stack_setup();
  if (err) {
    LOG_ERR("ANT stack setup failed (err %d)", err);
    return err;
  }

  err = ant_profile_setup();
  if (err) {
    LOG_ERR("ANT profile setup failed (err %d)", err);
    return err;
  }
#endif

#if IS_ENABLED(CONFIG_ANT_ENVIRON_TX) &&                                       \
    IS_ENABLED(CONFIG_ENVIRON_TX_TEMP_ST_LSM6DSL)
  if (lsm6dsl_initialized) {
    err = ant_channel_open(environ_channel_config.channel_number);
    if (err) {
      LOG_ERR("Failed to open environ channel: %d", err);
      return err;
    }
  }
#endif // IS_ENABLED(CONFIG_ANT_ENVIRON_TX) &&
       // IS_ENABLED(CONFIG_ENVIRON_TX_TEMP_ST_LSM6DSL)

  err = shell_bt_nus_init();
  if (err) {
    LOG_ERR("Shell BT NUS init failed (err %d)", err);
    return err;
  }

  err = bt_conn_auth_cb_register(&auth_callbacks);
  if (err) {
    LOG_ERR("Failed to register authorization callbacks.");
    return err;
  }

  err = bt_conn_auth_info_cb_register(&conn_auth_info_callbacks);
  if (err) {
    LOG_ERR("Failed to register authorization info callbacks.");
    return err;
  }

  err = bt_setup();
  if (err) {
    LOG_ERR("BT setup failed (err %d)", err);
    return err;
  }

  int64_t no_activity_since_ms = k_uptime_get();

  for (int i = 0;; i++) {
    watchdog_feed();
    uint16_t battery_mv = battery_gauge_get_mv();
    uint8_t battery_level = battery_gauge_get_level(battery_mv);
    low_batt |= battery_level <= LOW_BATTERY_THRESHOLD;
    low_batt &= battery_level <
                LOW_BATTERY_THRESHOLD + LOW_BATTERY_THRESHOLD_HYSTERESIS;

    bas_battery_level_self_set(battery_level, battery_mv);
#if IS_ENABLED(CONFIG_ANT)
    ant_bike_power_set_self_battery_state(&ant_profile_bike_power,
                                          battery_level, battery_mv);
    ant_environ_set_battery_state(&ant_profile_environ, battery_level,
                                  battery_mv);
#endif

    led_set_bit(POWER_LED_BIT);
    k_sleep(K_MSEC(75));
    if (low_batt) {
      led_clear_bit(POWER_LED_BIT);
    }
    k_sleep(K_MSEC(75));
    if (low_batt) {
      led_set_bit(POWER_LED_BIT);
    }
    k_sleep(K_MSEC(75));
    led_clear_bit(POWER_LED_BIT);

#if defined(CONFIG_AUTO_POWER_OFF_TIMEOUT) && CONFIG_AUTO_POWER_OFF_TIMEOUT > 0
    uint32_t is_active = is_usb_connected();
    bt_conn_foreach(BT_CONN_TYPE_LE, bt_conn_foreach_count_connected_peripheral,
                    &is_active);
    if (is_active) {
      no_activity_since_ms = k_uptime_get();
    } else {
#if IS_ENABLED(CONFIG_AUTO_POWER_OFF_WAKE_BY_ACCELEROMETER)
      if (lsm6dsl_initialized) {
        no_activity_since_ms =
            MAX(no_activity_since_ms, lsm6dsl_get_time_since_last_activity());
      }
#endif // IS_ENABLED(CONFIG_AUTO_POWER_OFF_WAKE_BY_ACCELEROMETER)
    }

    if (
#if IS_ENABLED(CONFIG_AUTO_POWER_OFF_WAKE_BY_ACCELEROMETER)
        lsm6dsl_initialized &&
#endif // IS_ENABLED(CONFIG_AUTO_POWER_OFF_WAKE_BY_ACCELEROMETER)
        (k_uptime_get() - no_activity_since_ms) >
            CONFIG_AUTO_POWER_OFF_TIMEOUT * 1000) {
      LOG_INF("Auto power off triggered");
      enter_poweroff();
      no_activity_since_ms = k_uptime_get();
    }
#endif // defined(CONFIG_AUTO_POWER_OFF_TIMEOUT) &&
       // CONFIG_AUTO_POWER_OFF_TIMEOUT > 0

    k_sleep(K_MSEC(2000 - 75 * 3));

#if IS_ENABLED(CONFIG_ENVIRON_TX_TEMP_ST_LSM6DSL)
    if (lsm6dsl_initialized) {
      const struct device *lsm6dsl_device =
          DEVICE_DT_GET(DT_COMPAT_GET_ANY_STATUS_OKAY(st_lsm6dsl_wakeup));
      struct sensor_value val;
      err = sensor_sample_fetch(lsm6dsl_device);
      if (err) {
        LOG_ERR("Failed to fetch temperature: %d", err);
      } else {
        err =
            sensor_channel_get(lsm6dsl_device, SENSOR_CHAN_AMBIENT_TEMP, &val);
        if (err) {
          LOG_ERR("Failed to get temperature: %d", err);
        } else {
          int16_t temperature = (int16_t)(sensor_value_to_centi(&val));
          environ_set_temp(temperature);
        }
      }
    }
#endif // IS_ENABLED(CONFIG_ENVIRON_TX_TEMP_ST_LSM6DSL)
  }

  LOG_WRN("Main loop exited");
  return 0;
}

int main(void) {
  int err;
  err = main_loop();
  if (err) {
    printk("Main loop failed (err %d)", err);
    k_panic();
    return err;
  }
  return 0;
}
```

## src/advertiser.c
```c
#include "advertiser.h"
#include <zephyr/bluetooth/bluetooth.h>
#include <zephyr/bluetooth/conn.h>
#include <zephyr/bluetooth/gatt.h>
#include <zephyr/bluetooth/hci.h>
#include <zephyr/bluetooth/uuid.h>
#include <zephyr/kernel.h>
#include <zephyr/logging/log.h>
#include <zephyr/settings/settings.h>

#if IS_ENABLED(CONFIG_BT_CHANNEL_SOUNDING)
#include <bluetooth/services/ras.h>
#endif

LOG_MODULE_REGISTER(advertiser, LOG_LEVEL_INF);

static enum advertiser_kind advertiser_kind = ADVERTISER_KIND_PUBLIC;

static bool fal_update_pending = true;

#define SETTINGS_ADV_SUBTREE "adv"
#define SETTINGS_ADV_KIND_SEGMENT "kind"

// a generic "power meter"-like data
// keep this anonymous for privacy
static const struct bt_data ad[] = {
    BT_DATA_BYTES(BT_DATA_FLAGS, (BT_LE_AD_GENERAL | BT_LE_AD_NO_BREDR)),
    BT_DATA_BYTES(BT_DATA_GAP_APPEARANCE,
                  (CONFIG_BT_DEVICE_APPEARANCE >> 0) & 0xff,
                  (CONFIG_BT_DEVICE_APPEARANCE >> 8) & 0xff),
    BT_DATA_BYTES(BT_DATA_UUID16_ALL, BT_UUID_16_ENCODE(BT_UUID_CPS_VAL),
#if IS_ENABLED(CONFIG_HAS_ENVIRON_TX_TEMP)
                  BT_UUID_16_ENCODE(BT_UUID_ESS_VAL),
#endif
                  BT_UUID_16_ENCODE(BT_UUID_BAS_VAL),
#if IS_ENABLED(CONFIG_BT_CHANNEL_SOUNDING)
                  BT_UUID_16_ENCODE(BT_UUID_RANGING_SERVICE_VAL),
#endif
                  ),
};

#define BT_DEVICE_NAME_LEN (sizeof(CONFIG_BT_DEVICE_NAME) - 1)
#define MAX_LEGACY_ADV_NAME_LEN 29

// this assignment is asserted in the SDK to fit
static uint8_t sd_device_name[CONFIG_BT_DEVICE_NAME_MAX + 1] =
    CONFIG_BT_DEVICE_NAME;

// we will leave this requirement for now because otherwise we might need to
// do UTF-8 parsing and it's too annoying
BUILD_ASSERT(BT_DEVICE_NAME_LEN <= MAX_LEGACY_ADV_NAME_LEN,
             "Device name is too long for legacy advertising");

static struct bt_data sd[] = {{.type = BT_DATA_NAME_COMPLETE,
                               .data = sd_device_name,
                               .data_len = BT_DEVICE_NAME_LEN}};

static void bt_conn_foreach_count_central(struct bt_conn *conn, void *data) {
  struct bt_conn_info conn_info;
  uint32_t *count = (uint32_t *)data;

  int err = bt_conn_get_info(conn, &conn_info);
  if (err) {
    LOG_ERR("Failed to get connection info (err %d)", err);
    return;
  }
  if (conn_info.type != BT_CONN_TYPE_LE ||
      conn_info.state != BT_CONN_STATE_CONNECTED ||
      conn_info.role != BT_CONN_ROLE_PERIPHERAL) {
    return;
  }
  (*count)++;
}

static void setup_accept_list_cb(const struct bt_bond_info *info,
                                 void *user_data) {
  int *bond_cnt = user_data;
  if ((*bond_cnt) < 0) {
    return;
  }
  int err = bt_le_filter_accept_list_add(&info->addr);
  if (err) {
    LOG_INF("Cannot add peer to Filter Accept List (err: %d)\n", err);
    (*bond_cnt) = -EIO;
  } else {
    (*bond_cnt)++;
  }
}

static void adv_work_handler(struct k_work *work) {
  int err;
  uint32_t options = BT_LE_ADV_OPT_CONN;
  switch (advertiser_kind) {
  case ADVERTISER_KIND_PUBLIC:
    options |= BT_LE_ADV_OPT_USE_IDENTITY;
    break;
  case ADVERTISER_KIND_PRIVATE:
    if (fal_update_pending) {
      bt_le_adv_stop();
      err = bt_le_filter_accept_list_clear();
      if (err) {
        LOG_ERR("bt_le_filter_accept_list_clear failed: %d", err);
      } else {
        int bond_cnt = 0;
        bt_foreach_bond(BT_ID_DEFAULT, setup_accept_list_cb, &bond_cnt);
        if (bond_cnt < 0) {
          LOG_ERR("Failed to add bonds to accept list");
        }
        LOG_INF("Filter Accept List updated");
        fal_update_pending = false;
      }
    }
    options |= BT_LE_ADV_OPT_FILTER_SCAN_REQ | BT_LE_ADV_OPT_FILTER_CONN;
    break;
  default:
    advertiser_kind = ADVERTISER_KIND_PUBLIC;
    options |= BT_LE_ADV_OPT_USE_IDENTITY;
    return;
  }
  err = bt_le_adv_start(BT_LE_ADV_PARAM(options, BT_GAP_MS_TO_ADV_INTERVAL(800),
                                        BT_GAP_MS_TO_ADV_INTERVAL(1200), NULL),
                        ad, ARRAY_SIZE(ad), sd, ARRAY_SIZE(sd));

  if (err && err != -EALREADY) {
    LOG_ERR("Advertising failed to start (err %d)", err);
    return;
  }

  bool need_update =
      sizeof(advertiser_kind) !=
      settings_get_val_len(SETTINGS_ADV_SUBTREE "/" SETTINGS_ADV_KIND_SEGMENT);

  if (!need_update) {
    enum advertiser_kind existing_kind;
    int rc =
        settings_load_one(SETTINGS_ADV_SUBTREE "/" SETTINGS_ADV_KIND_SEGMENT,
                          &existing_kind, sizeof(existing_kind));
    if (rc < 0) {
      LOG_ERR("Failed to load advertiser kind (err %d)", err);
    } else {
      need_update = existing_kind != advertiser_kind;
    }
  }

  if (need_update) {
    err = settings_save_one(SETTINGS_ADV_SUBTREE "/" SETTINGS_ADV_KIND_SEGMENT,
                            &advertiser_kind, sizeof(advertiser_kind));
    if (err) {
      LOG_ERR("Failed to save advertiser kind (err %d)", err);
    }
    LOG_INF("Advertiser kind saves as %d", advertiser_kind);
  }

  LOG_INF("Advertising successfully started");
}

K_WORK_DEFINE(adv_work, adv_work_handler);

void advertising_stop(void) { bt_le_adv_stop(); }

void advertising_start(void) {
  uint32_t count = 0;
  bt_conn_foreach(BT_CONN_TYPE_LE, bt_conn_foreach_count_central, &count);
  if (count < CONFIG_BT_CTLR_SDC_PERIPHERAL_COUNT) {
    k_work_submit(&adv_work);
  }
}

bool advertising_is_public(void) {
  return advertiser_kind == ADVERTISER_KIND_PUBLIC;
}

int bt_adv_set_device_number(uint32_t device_number) {
  char new_device_name[ARRAY_SIZE(sd_device_name)] = {0};
  memcpy(new_device_name, CONFIG_BT_DEVICE_NAME, BT_DEVICE_NAME_LEN);
  int len = snprintf(new_device_name + BT_DEVICE_NAME_LEN,
                     ARRAY_SIZE(sd_device_name) - BT_DEVICE_NAME_LEN,
                     "-%" PRIu32, device_number);
  if (len < 0) {
    LOG_ERR("Failed to format new name (err %d)", len);
    return -EINVAL;
  }
  len += BT_DEVICE_NAME_LEN;
  new_device_name[CONFIG_BT_DEVICE_NAME_MAX] =
      '\0'; // force truncate to maximum size
  if (0 == memcmp(new_device_name, sd_device_name, sizeof(sd_device_name))) {
    return 0;
  }
  int err = bt_set_name(new_device_name);
  if (err == 0) {
    bt_le_adv_stop();
    memcpy(sd_device_name, new_device_name, sizeof(sd_device_name));
    if (len > MAX_LEGACY_ADV_NAME_LEN) {
      sd[0].data_len = MAX_LEGACY_ADV_NAME_LEN;
      sd[0].type = BT_DATA_NAME_SHORTENED;
    } else {
      sd[0].data_len = len;
      sd[0].type = BT_DATA_NAME_COMPLETE;
    }
    advertising_start();
  }
  if (err) {
    LOG_ERR("Failed to set BT name (err %d)", err);
    return err;
  }
  return 0;
}

void advertising_notify_bond_changed(void) {
  fal_update_pending = true;
  advertising_start();
}

#if IS_ENABLED(CONFIG_BT_PRIVACY)
void bt_adv_set_kind(enum advertiser_kind kind) {
  if (advertiser_kind == kind) {
    return;
  }
  LOG_INF("Setting advertiser kind to %d", kind);
  advertiser_kind = kind;
  bt_le_adv_stop();
  advertising_start();
}
#else
void bt_adv_set_kind(enum advertiser_kind kind) {
  if (kind != ADVERTISER_KIND_PUBLIC) {
    LOG_ERR("Bluetooth privacy is not enabled at build time! Will advertise as "
            "public.");
    return;
  }
}
#endif /* IS_ENABLED(CONFIG_BT_PRIVACY) */

enum advertiser_kind bt_adv_get_kind(void) { return advertiser_kind; }

static int bt_adv_settings_set(const char *name, size_t len,
                               settings_read_cb read_cb, void *cb_arg) {
  const char *next;
  int rc;

  if (settings_name_steq(name, SETTINGS_ADV_KIND_SEGMENT, &next) && !next) {
    enum advertiser_kind kind;
    if (len != sizeof(kind)) {
      return -EINVAL;
    }
    rc = read_cb(cb_arg, &kind, sizeof(kind));
    if (rc >= 0) {
      bt_adv_set_kind(kind);
      return 0;
    }
    return rc;
  }

  return -ENOENT;
}

SETTINGS_STATIC_HANDLER_DEFINE(adv, SETTINGS_ADV_SUBTREE, NULL,
                               bt_adv_settings_set, NULL, NULL);
```

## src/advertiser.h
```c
#pragma once

#include <stdbool.h>
#include <zephyr/types.h>

enum advertiser_kind {
  ADVERTISER_KIND_PUBLIC = 0u,
  ADVERTISER_KIND_PRIVATE = 1u,
  ADVERTISER_KIND_COUNT = 2u,
};

void advertising_stop(void);
void advertising_start(void);

/**
 * @brief Check if the advertiser is public
 *
 * @return true if the advertiser is public, false otherwise
 */
bool advertising_is_public(void);

/**
 * @brief Set the device number
 *
 * @param device_number the device number to set
 * @return 0 on success, negative error code on failure
 */
int bt_adv_set_device_number(uint32_t device_number);

/**
 * @brief Set the advertiser kind
 *
 * @param kind the advertiser kind to set
 */
void bt_adv_set_kind(enum advertiser_kind kind);

/**
 * @brief Set the advertiser kind
 *
 * @param kind the advertiser kind to set
 */
enum advertiser_kind bt_adv_get_kind(void);

void advertising_notify_bond_changed(void);
```

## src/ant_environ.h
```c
#pragma once

#include "ant_types.h"
#include <ant_channel_config.h>
#include <ant_error.h>
#include <ant_init.h>
#include <ant_interface.h>
#include <ant_parameters.h>

#include <zephyr/kernel.h>

struct ant_environ_s {
  uint32_t epoch_seconds;
  uint8_t cache_page_80[8];
  uint8_t cache_page_81[8];
  uint8_t temp_evt_count;
  int16_t current_temp;
  int16_t max_temp_history[4 * HOUR_PER_DAY];
  int16_t min_temp_history[4 * HOUR_PER_DAY];
  uint16_t last_history_index;
  uint8_t page_request_idx;
  uint8_t page_request_ctr;
  uint16_t battery_voltage_self;
  enum ant_battery_status_t battery_state_self : 3;

  bool temp_valid : 1;
};

void ant_environ_init(struct ant_environ_s *p_environ);

void ant_environ_temp_set(struct ant_environ_s *p_environ,
                          int16_t temp_c_centi);

void ant_environ_set_battery_state(struct ant_environ_s *p_environ,
                                   uint8_t percent, uint16_t voltage_mv);

void ant_environ_evt_handler(ant_evt_t *p_ant_evt,
                             struct ant_environ_s *p_environ);
```

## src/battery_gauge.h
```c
#pragma once

#include <stdint.h>
#include <zephyr/sys/clock.h>

int battery_gauge_setup(void);
void battery_gauge_teardown(void);
int16_t battery_gauge_get_mv(void);
uint8_t battery_gauge_get_level(uint16_t voltage_mv);
```
